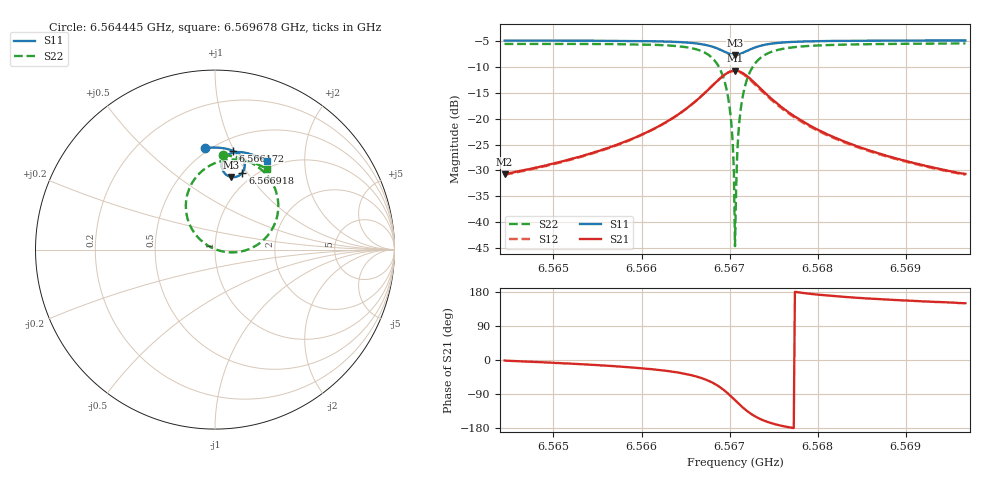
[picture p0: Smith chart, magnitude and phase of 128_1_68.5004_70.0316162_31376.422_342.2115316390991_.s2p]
#  HZ  S  RI  R  50.00
! Rohde & Schwarz Vector Network Analyzer
! Rohde-Schwarz,ZNB20-2Port,1311601062101988,3.16
! Created: UTC 3/20/2024, 4:54:15 PM
! freq[Hz]  re:S11  im:S11  re:S21  im:S21  re:S12  im:S12  re:S22  im:S22
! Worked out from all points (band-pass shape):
!   401 points, 6.564445 GHz to 6.569678 GHz, reference 50 ohm
!   highest |S21| = -10.71 dB at 6.567061 GHz (marker M1); lowest = -30.7 dB at 6.564445 GHz (marker M2)
!   |S21| within 3 dB of the highest: 6.566799 GHz to 6.567323 GHz (523.5 kHz wide, 0.00797 % of centre)
!   lowest |S11| = -7.7 dB at 6.567061 GHz (marker M3), VSWR 2.42, Z = 41.6 + j40.6 ohm
!   |S11| at or under -10 dB: nowhere
!   |S22| runs from -44.6 to -5.4 dB; largest |S21 - S12| = 0.014
!   S11 on the Smith chart (normalised r, x): 6.564445 GHz: 0.47, +0.79; 6.566172 GHz: 0.61, +0.99; 6.566918 GHz: 0.88, +0.95; 6.569678 GHz: 0.90, +1.31
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6.5644453e9  -0.0555 0.5666  0.0291 -0.000692  0.0286 -0.00129  0.0464 0.5265
6.5653217e9  0.0168 0.5678  0.0426 -0.00843  0.0421 -0.00894  0.1314 0.5115
6.5661719e9  0.0979 0.5517  0.0745 -0.0358  0.0733 -0.0366  0.2477 0.4541
6.5661981e9  0.1009 0.5506  0.0761 -0.0374  0.075 -0.0384  0.2526 0.4503
6.5667082e9  0.1609 0.4953  0.112 -0.1332  0.1094 -0.1359  0.352 0.264
6.566826e9  0.1653 0.4616  0.1008 -0.1924  0.0958 -0.1961  0.3361 0.1512
6.5669175e9  0.1525 0.4289  0.061 -0.2484  0.0521 -0.2515  0.2627 0.0468
6.566996e9  0.1223 0.4069  -0.00751 -0.283  -0.02 -0.282  0.1358 -0.0123
6.5670222e9  0.1089 0.4039  -0.0364 -0.2861  -0.0492 -0.2832  0.084 -0.0153
6.5670353e9  0.1018 0.4035  -0.0511 -0.2855  -0.064 -0.2815  0.0577 -0.0128
6.5670483e9  0.0948 0.4038  -0.0659 -0.2836  -0.0786 -0.2784  0.0313 -0.00757
6.5670614e9  0.0877 0.405  -0.0805 -0.2802  -0.093 -0.2739  0.00585 0.00032
6.5670876e9  0.0743 0.4096  -0.1083 -0.269  -0.1197 -0.2606  -0.0416 0.0237
6.5671007e9  0.0681 0.413  -0.1211 -0.2617  -0.1317 -0.2522  -0.0629 0.0386
6.5671137e9  0.0625 0.417  -0.1329 -0.2531  -0.1426 -0.243  -0.0824 0.0553
6.5671399e9  0.0529 0.4266  -0.1531 -0.2335  -0.161 -0.2221  -0.1148 0.0927
6.5671922e9  0.0411 0.4487  -0.1796 -0.1891  -0.1834 -0.177  -0.1534 0.1741
6.5672576e9  0.0386 0.4759  -0.1895 -0.1362  -0.1896 -0.1252  -0.1613 0.2674
6.5675062e9  0.0768 0.5305  -0.1453 -0.0286  -0.142 -0.0242  -0.0591 0.4484
6.5679378e9  0.1398 0.5433  -0.0831 0.00879  -0.0811 0.01  0.0802 0.5012
6.5688142e9  0.2229 0.5239  -0.0401 0.0154  -0.0395 0.0156  0.2114 0.4843
6.5696775e9  0.2875 0.4935  -0.0253 0.0146  -0.0246 0.0148  0.2892 0.4494
